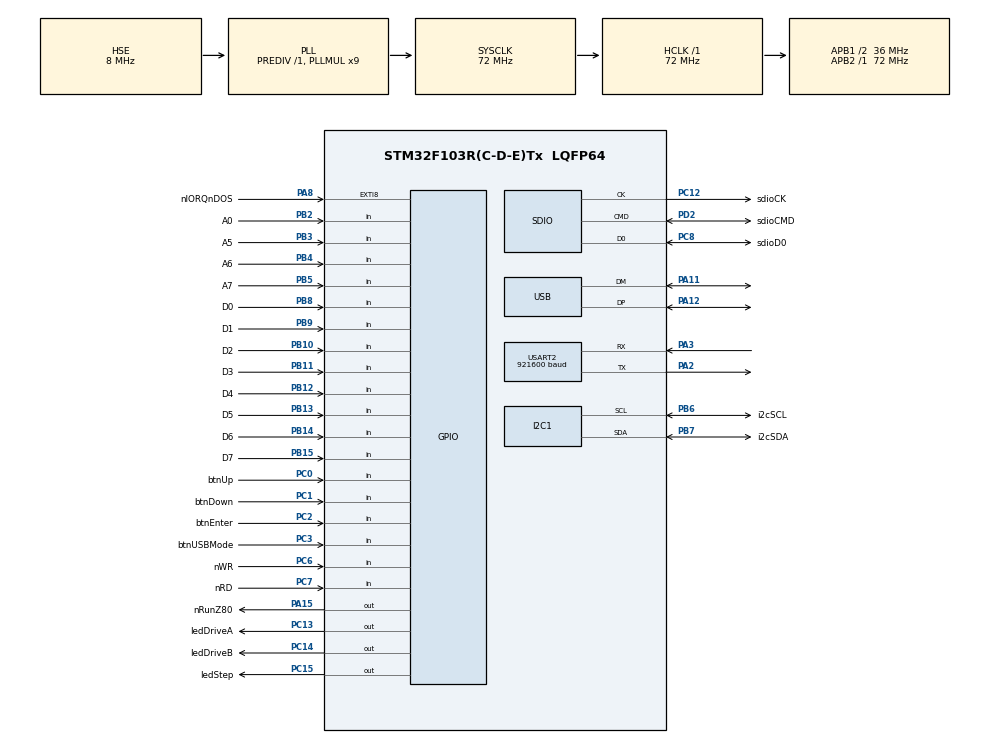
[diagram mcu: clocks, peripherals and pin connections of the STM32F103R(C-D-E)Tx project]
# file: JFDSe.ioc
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FATFS._CODE_PAGE=855
FATFS._FS_RPATH=0
FATFS._FS_TINY=0
FATFS._MAX_LFN=63
FATFS._STRF_ENCODE=0
FATFS._USE_FASTSEEK=0
FATFS._USE_FORWARD=0
FATFS._USE_LFN=1
FATFS._USE_MKFS=0
FATFS._USE_STRFUNC=1
FATFS._USE_TRIM=1
I2C1.I2C_Mode=I2C_Standard
Mcu.Family=STM32F1
Mcu.Name=STM32F103R(C-D-E)Tx
Mcu.Package=LQFP64
NVIC.EXTI9_5_IRQn=true\:0\:0\:false
NVIC.I2C1_ER_IRQn=true\:0\:0\:false
NVIC.I2C1_EV_IRQn=true\:0\:0\:false
NVIC.PriorityGroup=NVIC_PRIORITYGROUP_4
NVIC.SDIO_IRQn=true\:0\:0\:false
NVIC.TIM4_IRQn=true\:0\:0\:false
NVIC.USART2_IRQn=true\:0\:0\:false
NVIC.USB_LP_CAN1_RX0_IRQn=true\:0\:0\:false
PA11.Mode=Device
PA11.Signal=USB_DM
PA12.Mode=Device
PA12.Signal=USB_DP
PA13.Mode=Serial_Wire
PA13.Signal=SYS_JTMS-SWDIO
PA14.Mode=Serial_Wire
PA14.Signal=SYS_JTCK-SWCLK
PA15.GPIO_Label=nRunZ80
PA15.GPIO_ModeDefaultOutputPP=GPIO_MODE_OUTPUT_OD
PA15.GPIO_Speed=GPIO_SPEED_MEDIUM
PA15.Signal=GPIO_Output
PA2.Mode=Asynchronous
PA2.Signal=USART2_TX
PA3.Mode=Asynchronous
PA3.Signal=USART2_RX
PA8.GPIO_Label=nIORQnDOS
PA8.GPIO_ModeDefaultEXTI=GPIO_MODE_IT_RISING
PA8.GPIO_PuPd=GPIO_PULLUP
PA8.Signal=GPXTI8
PB10.GPIO_Label=D2
PB10.GPIO_Mode=GPIO_MODE_INPUT
PB10.GPIO_PuPd=GPIO_NOPULL
PB10.Signal=GPIO_Input
PB11.GPIO_Label=D3
PB11.GPIO_Mode=GPIO_MODE_INPUT
PB11.GPIO_PuPd=GPIO_NOPULL
PB11.Signal=GPIO_Input
PB12.GPIO_Label=D4
PB12.GPIO_Mode=GPIO_MODE_INPUT
PB12.GPIO_PuPd=GPIO_NOPULL
PB12.Signal=GPIO_Input
PB13.GPIO_Label=D5
PB13.GPIO_Mode=GPIO_MODE_INPUT
PB13.GPIO_PuPd=GPIO_NOPULL
PB13.Signal=GPIO_Input
PB14.GPIO_Label=D6
PB14.GPIO_Mode=GPIO_MODE_INPUT
PB14.GPIO_PuPd=GPIO_NOPULL
PB14.Signal=GPIO_Input
PB15.GPIO_Label=D7
PB15.GPIO_Mode=GPIO_MODE_INPUT
PB15.GPIO_PuPd=GPIO_NOPULL
PB15.Signal=GPIO_Input
PB2.GPIO_Label=A0
PB2.GPIO_Mode=GPIO_MODE_INPUT
PB2.GPIO_PuPd=GPIO_NOPULL
PB2.Signal=GPIO_Input
PB3.GPIO_Label=A5
PB3.GPIO_Mode=GPIO_MODE_INPUT
PB3.GPIO_PuPd=GPIO_NOPULL
PB3.Signal=GPIO_Input
PB4.GPIO_Label=A6
PB4.GPIO_Mode=GPIO_MODE_INPUT
PB4.GPIO_PuPd=GPIO_NOPULL
PB4.Signal=GPIO_Input
PB5.GPIO_Label=A7
PB5.GPIO_Mode=GPIO_MODE_INPUT
PB5.GPIO_PuPd=GPIO_NOPULL
PB5.Signal=GPIO_Input
PB6.GPIO_Label=i2cSCL
PB6.Mode=I2C
PB6.Signal=I2C1_SCL
PB7.GPIO_Label=i2cSDA
PB7.Mode=I2C
PB7.Signal=I2C1_SDA
PB8.GPIO_Label=D0
PB8.GPIO_Mode=GPIO_MODE_INPUT
PB8.GPIO_PuPd=GPIO_NOPULL
PB8.Signal=GPIO_Input
PB9.GPIO_Label=D1
PB9.GPIO_Mode=GPIO_MODE_INPUT
PB9.GPIO_PuPd=GPIO_NOPULL
PB9.Signal=GPIO_Input
PC0.GPIO_Label=btnUp
PC0.GPIO_Mode=GPIO_MODE_INPUT
PC0.GPIO_PuPd=GPIO_PULLUP
PC0.Signal=GPIO_Input
PC1.GPIO_Label=btnDown
PC1.GPIO_Mode=GPIO_MODE_INPUT
PC1.GPIO_PuPd=GPIO_PULLUP
PC1.Signal=GPIO_Input
PC12.GPIO_Label=sdioCK
PC12.Mode=SD_1_bit
PC12.Signal=SDIO_CK
PC13-TAMPER-RTC.GPIO_Label=ledDriveA
PC13-TAMPER-RTC.GPIO_Speed=GPIO_SPEED_LOW
PC13-TAMPER-RTC.Signal=GPIO_Output
PC14-OSC32_IN.GPIO_Label=ledDriveB
PC14-OSC32_IN.GPIO_Speed=GPIO_SPEED_LOW
PC14-OSC32_IN.Signal=GPIO_Output
PC15-OSC32_OUT.GPIO_Label=ledStep
PC15-OSC32_OUT.GPIO_Speed=GPIO_SPEED_LOW
PC15-OSC32_OUT.Signal=GPIO_Output
PC2.GPIO_Label=btnEnter
PC2.GPIO_Mode=GPIO_MODE_INPUT
PC2.GPIO_PuPd=GPIO_PULLUP
PC2.Signal=GPIO_Input
PC3.GPIO_Label=btnUSBMode
PC3.GPIO_Mode=GPIO_MODE_INPUT
PC3.GPIO_PuPd=GPIO_PULLUP
PC3.Signal=GPIO_Input
PC6.GPIO_Label=nWR
PC6.GPIO_PuPd=GPIO_PULLUP
PC6.Signal=GPIO_Input
PC7.GPIO_Label=nRD
PC7.GPIO_PuPd=GPIO_PULLUP
PC7.Signal=GPIO_Input
PC8.GPIO_Label=sdioD0
PC8.Mode=SD_1_bit
PC8.Signal=SDIO_D0
PD0-OSC_IN.Mode=HSE-External-Oscillator
PD0-OSC_IN.Signal=RCC_OSC_IN
PD1-OSC_OUT.Mode=HSE-External-Oscillator
PD1-OSC_OUT.Signal=RCC_OSC_OUT
PD2.GPIO_Label=sdioCMD
PD2.Mode=SD_1_bit
PD2.Signal=SDIO_CMD
ProjectManager.TargetToolchain=TrueSTUDIO
RCC.AHBFreq_Value=72000000
RCC.APB1CLKDivider=RCC_HCLK_DIV2
RCC.APB1Freq_Value=36000000
RCC.APB1TimFreq_Value=72000000
RCC.APB2Freq_Value=72000000
RCC.APB2TimFreq_Value=72000000
RCC.HCLKFreq_Value=72000000
RCC.HSIState=RCC_HSI_ON
RCC.PLLMUL=RCC_PLL_MUL9
RCC.PLLSourceVirtual=RCC_PLLSOURCE_HSE
RCC.SYSCLKFreq_VALUE=72000000
RCC.SYSCLKSource=RCC_SYSCLKSOURCE_PLLCLK
RCC.USBFreq_Value=48000000
RCC.USBPrescaler=RCC_USBPLLCLK_DIV1_5
RCC.VDD_VALUE=3.3
SDIO.BusWide=SDIO_BUS_WIDE_1B
SDIO.ClockDiv=4
TIM4.ClockDivision=TIM_CLOCKDIVISION_DIV1
TIM4.Period=1799
USART2.BaudRate=921600
USB_DEVICE.USBD_HandleTypeDef=hUsbDeviceFS
USB_DEVICE.VirtualMode=Msc
USB_DEVICE.VirtualModeFS=Msc_FS
VP_FATFS_VS_SDIO.Mode=SDIO
VP_TIM4_VS_ClockSourceINT.Mode=Internal
VP_USB_DEVICE_VS_USB_DEVICE_MSC_FS.Mode=MSC_FS
board=JFDSe

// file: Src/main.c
/**
  ******************************************************************************
  * File Name          : main.c
  * Description        : Main program body
  ******************************************************************************
  *
  * COPYRIGHT(c) 2016 STMicroelectronics
  *
  * Redistribution and use in source and binary forms, with or without modification,
  * are permitted provided that the following conditions are met:
  *   1. Redistributions of source code must retain the above copyright notice,
  *      this list of conditions and the following disclaimer.
  *   2. Redistributions in binary form must reproduce the above copyright notice,
  *      this list of conditions and the following disclaimer in the documentation
  *      and/or other materials provided with the distribution.
  *   3. Neither the name of STMicroelectronics nor the names of its contributors
  *      may be used to endorse or promote products derived from this software
  *      without specific prior written permission.
  *
  * THIS SOFTWARE IS PROVIDED BY THE COPYRIGHT HOLDERS AND CONTRIBUTORS "AS IS"
  * AND ANY EXPRESS OR IMPLIED WARRANTIES, INCLUDING, BUT NOT LIMITED TO, THE
  * IMPLIED WARRANTIES OF MERCHANTABILITY AND FITNESS FOR A PARTICULAR PURPOSE ARE
  * DISCLAIMED. IN NO EVENT SHALL THE COPYRIGHT HOLDER OR CONTRIBUTORS BE LIABLE
  * FOR ANY DIRECT, INDIRECT, INCIDENTAL, SPECIAL, EXEMPLARY, OR CONSEQUENTIAL
  * DAMAGES (INCLUDING, BUT NOT LIMITED TO, PROCUREMENT OF SUBSTITUTE GOODS OR
  * SERVICES; LOSS OF USE, DATA, OR PROFITS; OR BUSINESS INTERRUPTION) HOWEVER
  * CAUSED AND ON ANY THEORY OF LIABILITY, WHETHER IN CONTRACT, STRICT LIABILITY,
  * OR TORT (INCLUDING NEGLIGENCE OR OTHERWISE) ARISING IN ANY WAY OUT OF THE USE
  * OF THIS SOFTWARE, EVEN IF ADVISED OF THE POSSIBILITY OF SUCH DAMAGE.
  *
  ******************************************************************************
  */
#include "stm32f1xx_hal.h"
#include "fatfs.h"
#include "i2c.h"
#include "sdio.h"
#include "tim.h"
#include "usart.h"
#include "usb_device.h"
#include "gpio.h"

/* USER CODE BEGIN Includes */
#include "stm32f1xx_hal_conf.h"
#include "ff.h"
#include "lcd1602.h"
#include <stdint.h>
#include <stdio.h>
#include <stdarg.h>
#include <string.h>
#include "types.h"
#include "specBetadisk.h"
#include "system.h"

/* USER CODE END Includes */

/* USER CODE BEGIN PV */
/* Private variables ---------------------------------------------------------*/
#define __IO    volatile
#define VERSION "v0.01"

FATFS fatfs;
FRESULT ret;			/* Result code */
FIL file;				/* File object */
DIR dir;				/* Directory object */
FILINFO fno;			/* File information object */

uint8_t buff[ MAX_TRACK_LEN * 2 ];
//                 0    1    2    3    4    5    6    7    8    9    10   11
char LCDbuff[13] = { 0x43,0x3A,0x30,0x20,0x20,0x53,0x3A,0x30,0x20,0x49,0x20,0x6D,0x00};
//                 C    :    0              S    :    0         IRW         mM
unsigned char TmpBuffer[32];
volatile long int CurrBit;
volatile uint32_t CylNumber;
volatile uint32_t LoadedCylNumber;
volatile long int CurrBitW, CurrBitWStart;
volatile long int SideW;
volatile machineState currentState = init;
volatile machineState lastState = noneState;

volatile uint32_t tempData = 0;
volatile uint32_t tempIORQDOS = 0;
volatile uint32_t tempRDWR = 0;

typedef struct
{
	char name[ PATH_SIZE ];
	int readOnly;
} CDiskImage;

CDiskImage specImages[4];

//
//
long int trackListBase;
uint32_t temp_l1, temp_l2;
long int i;
char * x;
btns pressedButton;
long int allFiles;
long int FileIndex;
uint32_t trackNumber;

bool LOG_BDI_PORTS = true;

unsigned char timer_flag_1Hz = 0;
unsigned char timer_flag_100Hz = 0;
volatile unsigned int delayTimer = 0;
volatile unsigned int tapeTimer = 0;
volatile bool bdiTimerFlag = true;
volatile unsigned int bdiTimer = 0;

/* USER CODE END PV */

void SystemClock_Config(void);

/* USER CODE BEGIN PFP */
/* Private function prototypes -----------------------------------------------*/
btns readKeyboard(void);
void Error2LCD(char * ErrorStr);
void GPIO_Config(void);
void TIM4_Config(void);
void Status2LCD (void);
static void fault_err (FRESULT rc);
static void _delay(__IO uint32_t nCount);
//void BDI_ResetWrite(void);
//void BDI_Write(uint8_t);
//void BDI_ResetRead(uint16_t);
//bool BDI_Read(uint8_t*);
void BDI_Routine(void);
uint32_t get_ticks(void);
void __TRACE( const char *str, ... );
uint8_t readCPUDataBus(void);
void writeCPUDataBus(uint8_t data);
void bdiUpdateDisks(void);
void bdiInitDisks(void);
void SD_Init(void);
void BDI_StopTimer();
void BDI_StartTimer();

/* USER CODE END PFP */

int main(void)
{

  /* USER CODE BEGIN 1 */
	SystemInit();
  /* USER CODE END 1 */

  /* MCU Configuration----------------------------------------------------------*/

  /* Reset of all peripherals, Initializes the Flash interface and the Systick. */
  HAL_Init();

  /* Configure the system clock */
  SystemClock_Config();

  /* Initialize all configured peripherals */
  MX_GPIO_Init();
  MX_I2C1_Init();
  MX_SDIO_SD_Init();
  MX_TIM4_Init();
  MX_USART2_UART_Init();
  MX_FATFS_Init();
  MX_USB_DEVICE_Init();

  /* USER CODE BEGIN 2 */
	GPIO_Config();
	TIM4_Config();

	nRunZ80_GPIO_Port->BRR = nRunZ80_Pin;
	nRunZ80_GPIO_Port->BSRR = nRunZ80_Pin;
	nRunZ80_GPIO_Port->BRR = nRunZ80_Pin;
	nRunZ80_GPIO_Port->BSRR = nRunZ80_Pin;
  /* USER CODE END 2 */

  /* Infinite loop */
  /* USER CODE BEGIN WHILE */
  while (1)
  {
		if ( lastState != currentState )
		{
			lastState = currentState;
#ifdef TRACE
	printf( "St%d\n\r", currentState );
#endif
		}
		switch ( currentState )
		{
			case init:
			{
				CurrBit = 0;
				lcdInit();
				lcdClear();
				lcdPrintStr("JFDSe ");
				lcdPrintStr(VERSION);
				SD_Init();
				fdc_init();
				bdiInitDisks();
				//floppy_open();
				HAL_Delay(100);

				lcdClear();
				lcdSetCursor(0,0);
				lcdPrintStr("Load: DIZZYD1.TRD");
				lcdSetCursor(0,1);

				strcpy(specImages[0].name, "DIZZYD1.TRD");
				//if (fdc_open_image( 0, specImages[0].name ))
				if (open_dsk_image( i, specImages[i].name ))
					lcdPrintStr("Success!");
				else
					lcdPrintStr("Error!");
				currentState = selectDir;

				break;
			}
			case selectDir:
			{
				//currentState = selectFile;
				//strcpy( CurrDir, "/" );
				break;
			}
			case idle:
			{
				break;
			}
			case selectFile:
			{
				allFiles = 0;
				FileIndex = 0;	// index массива
				while ( currentState == selectFile )
				{
					lcdSetCursor(0,0);
					if ( allFiles == 1 )
						lcdPrintStr("Dir is empty   \x7E");
					else
						if ( FileIndex == 0 )
							lcdPrintStr("Select file  \xDA \x7E");
						else
							if ( FileIndex + 1 == allFiles )
								lcdPrintStr("Select file   \xD9\x7E");
							else
								lcdPrintStr("Select file  \xDA\xD9\x7E");
					lcdSetCursor(0,1);
					lcdPrintStr( (char *) &buff[ 11 * FileIndex ] );
					lcdPrintStr("       ");

					pressedButton = readKeyboard();

					switch ( pressedButton )
					{
						case btnUp:
						{
							if ( FileIndex )
							{
								FileIndex--;
								lcdSetCursor(0,1);
								lcdPrintStr( (char *) &buff[ 11 * FileIndex ] );
								lcdPrintStr("       ");
							}
							break;
						}
						case btnEnter:
						{
							/*if ( buff[ FILE_NAME_LEN * FileIndex ] == 32 )	// файл
								if ( strlen( CurrDir ) <= MAX_PATH_LEN - 1 - 12 )
								{

									if ( readHXCMFMFile() == 0 )
									{
										lcdSetCursor(0,0);
										x = Image_File_Name + strlen( Image_File_Name );
										for ( i = 1 ; i <= FILE_NAME_LEN && x > Image_File_Name; i++ )
											x--;
										lcdPrintStr( (char *)x );
										lcdPrintStr("       ");
										//lcdSetCursor(14,0);
										lcdSetCursor(0,1);
										lcdPrintStr( "C:   S:         " );
										Status2LCD();
										CylNumber = 0;
										currentState = loadCylinder;
									}
									else
										currentState = selectDir;
								}
								else
								{
									Error2LCD( "Path too long  \x7E" );
									break;
								}
							else	// директория
							{
								if ( !strcmp( (char const *)&buff[ FILE_NAME_LEN * FileIndex ], "*.." ) )	// вверх
								{
									x = CurrDir + strlen( CurrDir );
									while ( *x != '/' )	x--;
									*++x = '\0';
								}
								else	// вход
								{
									if ( *( CurrDir + strlen( CurrDir ) - 1 ) != '/' )	strcat( CurrDir, "/" );
									strcat( CurrDir, (char const *)&buff[ FILE_NAME_LEN * FileIndex + 1 ] );
								}
								allFiles = 0;
								FileIndex = 0;	// index массива
							}
										*/
							break;
						}
						case btnDown:
						{
							/*
							if ( FileIndex + 1 < allFiles )
							{
								FileIndex++;
								lcdSetCursor(0,1);
								lcdPrintStr( (char *)&buff[ FILE_NAME_LEN * FileIndex ] );
								lcdPrintStr("       ");
							}
							*/
							break;
						}
						case btnUSBMode:
						{
							lcdSetCursor(0,0);
							lcdPrintStr("USB PC Link mode");
							lcdSetCursor(0,1);
							lcdPrintStr("Connect USB plug");
							_delay(75);
							currentState = usbMode;
							break;
						}
						default:
							break;
					}
				}
				break;
			}
			case usbMode:
			{
				lcdSetCursor(0,0);
				lcdPrintStr("Auto reset after");
				lcdSetCursor(0,1);
				lcdPrintStr("PC disconnected ");
				/*Prep4USBFS();
				Set_System();
				Set_USBClock();
				USB_Interrupts_Config();
				USB_Init();
				while ( bDeviceState != CONFIGURED )	;
				DevWasConfigured = true;
				while ( 1 )	;*/
				break;
			}
			case noneState:
				break;

		}
        //Serial_Routine();
        //Tape_Routine();
        BDI_Routine();

  /* USER CODE END WHILE */

  }

}

/** System Clock Configuration
*/
void SystemClock_Config(void)
{

  RCC_OscInitTypeDef RCC_OscInitStruct;
  RCC_ClkInitTypeDef RCC_ClkInitStruct;
  RCC_PeriphCLKInitTypeDef PeriphClkInit;

  RCC_OscInitStruct.OscillatorType = RCC_OSCILLATORTYPE_HSE;
  RCC_OscInitStruct.HSEState = RCC_HSE_ON;
  RCC_OscInitStruct.HSEPredivValue = RCC_HSE_PREDIV_DIV1;
  RCC_OscInitStruct.PLL.PLLState = RCC_PLL_ON;
  RCC_OscInitStruct.PLL.PLLSource = RCC_PLLSOURCE_HSE;
  RCC_OscInitStruct.PLL.PLLMUL = RCC_PLL_MUL9;
  HAL_RCC_OscConfig(&RCC_OscInitStruct);

  RCC_ClkInitStruct.ClockType = RCC_CLOCKTYPE_SYSCLK|RCC_CLOCKTYPE_PCLK1;
  RCC_ClkInitStruct.SYSCLKSource = RCC_SYSCLKSOURCE_PLLCLK;
  RCC_ClkInitStruct.AHBCLKDivider = RCC_SYSCLK_DIV1;
  RCC_ClkInitStruct.APB1CLKDivider = RCC_HCLK_DIV2;
  RCC_ClkInitStruct.APB2CLKDivider = RCC_HCLK_DIV1;
  HAL_RCC_ClockConfig(&RCC_ClkInitStruct, FLASH_LATENCY_2);

  PeriphClkInit.PeriphClockSelection = RCC_PERIPHCLK_USB;
  PeriphClkInit.UsbClockSelection = RCC_USBPLLCLK_DIV1_5;
  HAL_RCCEx_PeriphCLKConfig(&PeriphClkInit);

  HAL_SYSTICK_Config(HAL_RCC_GetHCLKFreq()/1000);

  HAL_SYSTICK_CLKSourceConfig(SYSTICK_CLKSOURCE_HCLK);

  /* SysTick_IRQn interrupt configuration */
  HAL_NVIC_SetPriority(SysTick_IRQn, 0, 0);
}

/* USER CODE BEGIN 4 */

btns readKeyboard(void)
{
	while (1)
	{
		_delay( 3 );

		if ( ( btnUp_GPIO_Port->IDR & btnUp_Pin ) == 0 )
			return btnUp;
		else
		if ( ( btnDown_GPIO_Port->IDR & btnDown_Pin ) == 0 )
			return btnDown;
		else
		if ( ( btnEnter_GPIO_Port->IDR & btnEnter_Pin ) == 0 )
			return btnEnter;
		else
		if ( ( btnUSBMode_GPIO_Port->IDR & btnUSBMode_Pin ) == 0 )
			return btnUSBMode;
	}
}

void Error2LCD(char * ErrorStr)
{
	lcdClear();
	lcdSetCursor(0,0);
	lcdPrintStr( "E:" );
	lcdSetCursor(2,0);
	lcdPrintStr( ErrorStr );
	lcdSetCursor(0,1);
	lcdPrintStr("- Push any key -" );
	readKeyboard();
}
void GPIO_Config(void)
{
	ledDriveA_GPIO_Port->BSRR = ledDriveA_Pin;
	ledDriveB_GPIO_Port->BSRR = ledDriveB_Pin;
	ledStep_GPIO_Port->BSRR = ledStep_Pin;
}

void TIM4_Config(void)
{
	TIM4->DIER = TIM_DIER_UIE;
	TIM4->CR1 |= TIM_CR1_CEN;
}

void Status2LCD(void)
{
	LCDbuff[7] = 0x30+SideW;
	lcdSetCursor(0, 1);
	lcdPrintStr(LCDbuff);
}

static void fault_err (FRESULT rc)
{
	const char *str =
					"OK\0" "DISK_ERR\0" "INT_ERR\0" "NOT_READY\0" "NO_FILE\0" "NO_PATH\0"
					"INVALID_NAME\0" "DENIED\0" "EXIST\0" "INVALID_OBJECT\0" "WRITE_PROTECTED\0"
					"INVALID_DRIVE\0" "NOT_ENABLED\0" "NO_FILE_SYSTEM\0" "MKFS_ABORTED\0" "TIMEOUT\0"
					"LOCKED\0" "NOT_ENOUGH_CORE\0" "TOO_MANY_OPEN_FILES\0";
	FRESULT i;

	for (i = (FRESULT)0; i != rc && *str; i++)
	{
		while (*str++) ;
	}
	lcdClear();
	lcdPrintStr( (char *)"Error:");
	lcdSetCursor(0,1);
	lcdPrintStr( (char *)str );
}

static void _delay(__IO uint32_t nCount)
{
	__IO uint32_t index;

	for (index = (100000 * nCount); index != 0; index--);
}
/*void BDI_ResetWrite()
{

//	trdosFifoReadRst <= '1';

//	SystemBus_WriteAtAddress( 0xc00060, 0x8000 );
}

void BDI_Write( uint8_t data )
{

//	trdosFifoReadWrTmp <= data;
//	trdosFifoReadWr <= '1';

//    SystemBus_WriteAtAddress( 0xc00060, data );
	writeCPUDataBus(data);
}

void BDI_ResetRead( uint16_t counter )
{

//	trdosFifoWriteRst <= ARM_AD( 15 );
//	trdosFifoWriteCounter <= unsigned( ARM_AD( 10 downto 0 ));

//    SystemBus_WriteAtAddress( 0xc00061, 0x8000 | counter );
}

bool BDI_Read( uint8_t *data )
{

	if addressReg( 7 downto 0 ) = x"61" then
		ARM_AD <= trdosFifoWriteReady & "0000000" & trdosFifoWriteRdTmp;
		if trdosFifoWriteReady = '1' then
			trdosFifoWriteRd <= '1';
		end if;

	uint16_t result = SystemBus_ReadAtAddress( 0xc00061 );

    *data = (byte) result;

    return ( result & 0x8000 ) != 0;

	*data = (uint8_t) readCPUDataBus();
	return 1;
}
*/

void BDI_Routine()
{
    //int ioCounter = 0x20;

    /*
    		if addressReg( 7 downto 0 ) = x"19" then
    			ARM_AD <= x"00" & b"000000" & specTrdosWr & specTrdosWait;
    */
    //uint16_t trdosStatus = SystemBus_ReadAtAddress( 0xc00019 );

    if (nIORQnDOS == 0)
    {
    	ledStep_On;
/*
        elsif addressReg( 7 downto 0 ) = x"1a" then
			ARM_AD <= cpuA;

*/
        //byte trdosAddr = SystemBus_ReadAtAddress( 0xc0001a );

    	uint32_t tempData = fdc_GPIO_Port->IDR;
    	tempRDWR = nRD_GPIO_Port->IDR & (nRD_Pin | nWR_Pin);

    	//byte trdosAddr = ((temp & (A7_Pin | A6_Pin | A5_Pin)) << 2) | (0x1E) | ((temp & A0_Pin) >> 2);
    	//uint8_t trdosAddr = ((( tempData & 0x38) << 2) | ((tempData & 0x04) >> 2)) | (0x1E);

    	uint8_t trdosAddr = (( tempData & (A765Mask)) << 2) | ((tempData & A0_Pin) >> 2);
		trdosAddr |= (0x1E);

    	uint8_t trdosData = ((tempData & 0xFF00)  >> 8);

//        static int counter = 0;

        if (nWR == 0)
        {
/*
        	if addressReg( 7 downto 0 ) = x"1b" then
				ARM_AD <= x"00" & cpuDout;
*/
        	//byte trdosData = SystemBus_ReadAtAddress( 0xc0001b );
        	trdosData = readCPUDataBus();
            fdc_write( trdosAddr, trdosData );
            __TRACE( "W: 0x%.2x,  0x%.2x\n", trdosAddr, trdosData );

/*            if( LOG_BDI_PORTS )
            {
                if( trdosAddr == 0x7f )
                {
                    if( counter == 0 ) __TRACE( "Data write : " );

                    __TRACE( "%.2x.", trdosData );

                    counter++;
                    if( counter == 16 )
                    {
                        counter = 0;
                        __TRACE( "\n" );
                    }
                }
                else //if( trdosAddr != 0xff )
                {
                    if( counter != 0 )
                    {
                        counter = 0;
                        __TRACE( "\n" );
                    }

                    __TRACE( "0x%.2x, 0x%.2x\n", trdosAddr, trdosData );
                }
            }
            */
        }
        else if(nRD == 0)
        {
            uint8_t trdosData = fdc_read( trdosAddr );

            //cpuDin <= trdosData;
            //SystemBus_WriteAtAddress( 0xc0001b, trdosData );
            writeCPUDataBus(trdosData);
            __TRACE( "R: 0x%.2x,  0x%.2x\n", trdosAddr, trdosData );

/*
            if( LOG_BDI_PORTS )
            {
                if( trdosAddr == 0x7f )
                {
                    if( counter == 0 ) __TRACE( "Data read : " );

                    __TRACE( "%.2x.", trdosData );

                    counter++;
                    if( counter == 16 )
                    {
                        counter = 0;
                        __TRACE( "\n" );
                    }
                }
                else if( trdosAddr != 0xff )
                {
                    __TRACE( "0x%.2x, 0x%.2x\n", trdosAddr, trdosData );
                }
            }
*/

		//specTrdosPortFF <= fdc_read( 0xff );
        //SystemBus_WriteAtAddress( 0xc0001d, fdc_read( 0xff ) );

		//specTrdosWait <= '0';
        //SystemBus_WriteAtAddress( 0xc00019, 0 );

        fdc_dispatch();

		//specTrdosPortFF <= fdc_read( 0xff );
        //SystemBus_WriteAtAddress( 0xc0001d, fdc_read( 0xff ) );
        //SystemBus_Write( 0xc00019, 0 );

        //if( --ioCounter == 0 ) break;

/*
		if addressReg( 7 downto 0 ) = x"19" then
			ARM_AD <= x"00" & b"000000" & specTrdosWr & specTrdosWait;
*/
        //trdosStatus = SystemBus_ReadAtAddress( 0xc00019 );
        //if( nDOS > 0 ) break;
        //fdc_dispatch();
        }
    //while ((nIORQ == 0)&(nDOS ==0))
    //{};

	//specTrdosPortFF <= fdc_read( 0xff );
    //SystemBus_WriteAtAddress( 0xc0001d, fdc_read( 0xff ) );
	ledStep_Off;
    }
	nRunZ80_GPIO_Port->BRR = nRunZ80_Pin;
	nRunZ80_GPIO_Port->BSRR = nRunZ80_Pin;
	// Set CPU DataBus pins as Floating Input
	CPUDataBusPort->CRH = 0x44444444;
}

uint32_t get_ticks()
{
    return bdiTimer;
}

void __TRACE( const char *str, ... )
{
    static char fullStr[ 0x80 ];
    va_list ap;
    va_start( ap, str );
    vsniprintf( fullStr, sizeof(fullStr), str, ap );
    va_end(ap);

    uint8_t i = 0;
    while (fullStr[i] > 0)
    {
    	i++;
    }
    //printf(fullStr);
    HAL_UART_Transmit(&huart2, (uint8_t *)fullStr, i, 10000);
    /*

    if( traceNewLine )
    {
        Serial_Routine();
        //const char delChar = 0x08;
        //for( int i = 0; i <= cmdSize; i++ ) uart0.WriteFile( (byte*) &delChar, 1 );
    }

    char lastChar = 0;
    char *strPos = fullStr;

    while( *strPos != 0 )
    {
        lastChar = *strPos++;

        if( lastChar == '\n' ) uart0.WriteFile( (byte*) "\r\n", 2 );
        else uart0.WriteFile( (byte*) &lastChar, 1 );

        WDT_Kick();
    }

    traceNewLine = ( lastChar == '\n' );

    if( traceNewLine )
    {
        UART0_WriteText( ">" );

        Serial_Routine();
        if( cmdSize > 0 ) uart0.WriteFile( (byte*) cmd, cmdSize );
    }
    */
}

uint8_t readCPUDataBus(void)
{
	// Set CPU DataBus pins as Floating Input
	CPUDataBusPort->CRH = 0x44444444;

	// Read and return CPU data
	return (CPUDataBusPort->IDR & 0xFF00) >> 8;
}

void writeCPUDataBus(uint8_t data)
{
	// Reset CPU DataBus
	CPUDataBusPort->BRR = 0xFF00;
	// Set CPU DataBus pins as Open-Drain output
	CPUDataBusPort->CRH = 0x11111111;
	// Send data on CPU DataBus
	CPUDataBusPort->ODR |= ((data << 8) & 0xFF00);
}

void bdiUpdateDisks()
{
    uint8_t i;
	for( i = 0; i < BETADSK_NUM_DRIVES; i++ )
    {
        //fdc_open_image( i, specImages[i].name );
		open_dsk_image( i, specImages[i].name );
		beta_set_disk_wp( i, specImages[i].readOnly );
    }
}

void bdiInitDisks()
{
	uint8_t i;
    for( i = 0; i < BETADSK_NUM_DRIVES; i++ )
    {
        strcpy( specImages[i].name, "" );
        specImages[i].readOnly = false;
    }
}

void SD_Init()
{
	if ( ( ret = f_mount( &fatfs, "/", 1 )) != FR_OK )
	{
		fault_err(ret);
		__TRACE( "SD card init error :(\n" );
	}
	else
	{
		__TRACE( "SD card init OK\n" );
		//MassStorage_UpdateCharacteristics();

		//f_mount( 0, &fatfs );
	}

}

void BDI_StopTimer()
{
    bdiTimerFlag = false;
}

void BDI_StartTimer()
{
    bdiTimerFlag = true;
}

/* USER CODE END 4 */

/************************ (C) COPYRIGHT STMicroelectronics *****END OF FILE****/
